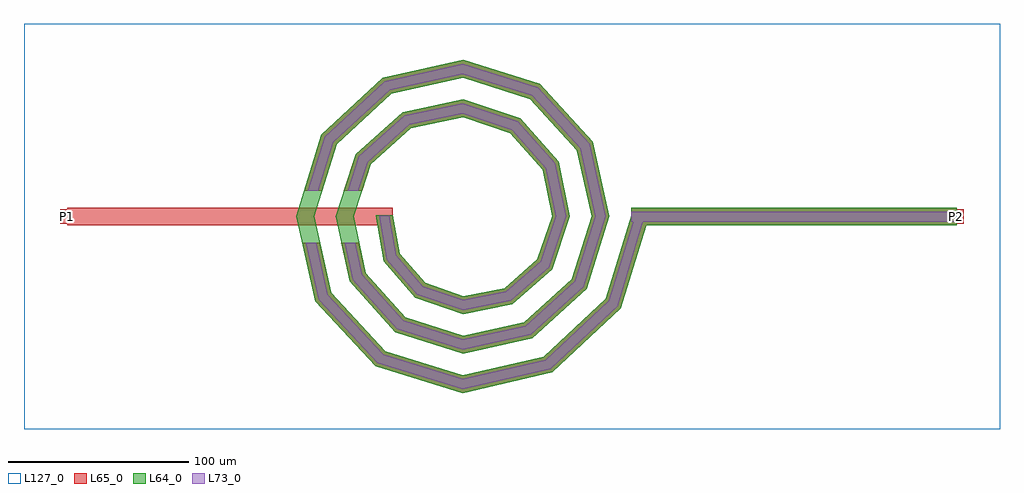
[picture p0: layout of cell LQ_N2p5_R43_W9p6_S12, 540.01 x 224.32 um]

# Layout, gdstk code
import gdstk
lib = gdstk.Library(unit=1e-6, precision=1e-09)
def R(c, l, rs):  # rectangles x0, y0, x1, y1
    for r in rs: c.add(gdstk.rectangle(r[:2], r[2:], *l))
def P(c, l, *ps):  # polygons
    for p in ps: c.add(gdstk.Polygon(p, *l))
L64_0 = (64, 0)
L65_0 = (65, 0)
L73_0 = (73, 0)
L127_0 = (127, 0)

lq_n2p5_r43_w9p6_s12 = lib.new_cell('LQ_N2p5_R43_W9p6_S12')
R(lq_n2p5_r43_w9p6_s12, L64_0, [(93.316,-4.8,273.316,4.8)])
P(lq_n2p5_r43_w9p6_s12, L64_0, [(-34.765,-20.501),(-20.779,-36.706),(0.344,-43.998),(23.196,-39.513),(41.416,-23.541),(49.458,0.31),(44.258,25.899),(26.298,46.13),(0.282,54.919),(-28.606,49.001),(-50.847,29.05),(-60.38,0.258),(-53.741,-31.318),(-31.799,-55.566),(0.238,-65.841),(34.032,-58.481),(60.287,-34.545),(71.303,0.221),(63.218,36.749),(37.289,65.009),(0.206,76.764),(-39.467,67.955),(-69.732,40.031),(-82.226,0.194),(-72.692,-42.187),(-42.773,-74.456),(0.182,-87.688),(44.909,-77.427),(79.181,-45.513),(93.526,1.404),(102.707,-1.404),(87.608,-50.783),(49.566,-86.208),(0.182,-97.621),(-48.061,-82.872),(-81.483,-46.825),(-92.158,0.194),(-78.136,45.34),(-44.083,76.758),(0.206,86.695),(42.62,73.398),(72.035,41.34),(81.233,0.221),(68.659,-39.902),(38.594,-67.312),(0.238,-75.77),(-37.186,-63.919),(-62.59,-35.847),(-70.307,0.258),(-59.178,34.473),(-33.096,57.87),(0.282,64.844),(31.763,54.434),(53.152,30.341),(59.38,0.31),(49.687,-29.057),(27.581,-48.436),(0.344,-53.916),(-26.357,-44.936),(-43.724,-24.814),(-48.213,0.885),(-38.777,0.885)])
R(lq_n2p5_r43_w9p6_s12, L65_0, [(-218.695,-4.8,-38.695,4.8), (93.316,-4.8,273.316,4.8), (-222.695,-4,-214.695,4), (269.316,-4,277.316,4)])
P(lq_n2p5_r43_w9p6_s12, L65_0, [(-72.692,-42.187),(-42.773,-74.456),(0.182,-87.688),(44.909,-77.427),(79.181,-45.513),(93.526,1.404),(102.707,-1.404),(87.608,-50.783),(49.566,-86.208),(0.182,-97.621),(-48.061,-82.872),(-81.483,-46.825),(-88.845,-14.4),(-79,-14.4)],
  [(-53.741,-31.318),(-31.799,-55.566),(0.238,-65.841),(34.032,-58.481),(60.287,-34.545),(71.303,0.221),(63.218,36.749),(37.289,65.009),(0.206,76.764),(-39.467,67.955),(-69.732,40.032),(-77.693,14.4),(-87.746,14.4),(-78.136,45.34),(-44.083,76.758),(0.206,86.696),(42.62,73.398),(72.035,41.34),(81.233,0.221),(68.659,-39.902),(38.594,-67.312),(0.238,-75.77),(-37.186,-63.92),(-62.59,-35.847),(-67.174,-14.4),(-57.357,-14.4)],
  [(-20.779,-36.706),(0.344,-43.998),(23.196,-39.514),(41.416,-23.541),(49.458,0.31),(44.258,25.899),(26.298,46.13),(0.282,54.919),(-28.606,49.001),(-50.847,29.05),(-55.612,14.4),(-65.707,14.4),(-59.178,34.473),(-33.096,57.87),(0.282,64.844),(31.763,54.434),(53.152,30.341),(59.38,0.31),(49.687,-29.057),(27.581,-48.436),(0.344,-53.916),(-26.357,-44.937),(-43.724,-24.815),(-48.213,0.885),(-38.777,0.885),(-34.765,-20.501)])
R(lq_n2p5_r43_w9p6_s12, L73_0, [(93.316,-2.8,273.316,2.8)])
P(lq_n2p5_r43_w9p6_s12, L73_0, [(-74.523,-43.154),(-43.874,-76.209),(0.106,-89.757),(45.879,-79.257),(80.936,-46.611),(95.439,0.819),(100.794,0.819),(85.852,-49.685),(48.596,-84.379),(0.106,-95.551),(-46.959,-81.119),(-79.651,-45.859),(-86.794,-14.4),(-81.051,-14.4)],
  [(-55.585,-32.261),(-32.921,-57.306),(0.139,-67.91),(34.982,-60.32),(62.031,-35.661),(73.371,0.129),(65.055,37.705),(38.4,66.756),(0.12,78.833),(-40.429,69.789),(-71.483,41.137),(-79.787,14.4),(-85.651,14.4),(-76.385,44.234),(-43.122,74.924),(0.12,84.627),(41.51,71.65),(70.198,40.383),(79.164,0.129),(66.915,-38.786),(37.644,-65.472),(0.139,-73.702),(-36.064,-62.179),(-60.747,-34.903),(-65.129,-14.4),(-59.402,-14.4)],
  [(-21.941,-38.421),(0.201,-46.064),(24.11,-41.372),(43.139,-24.691),(51.525,0.181),(46.111,26.824),(27.436,47.86),(0.164,56.987),(-29.542,50.849),(-52.582,30.18),(-57.715,14.4),(-63.604,14.4),(-57.442,33.343),(-32.16,56.022),(0.164,62.776),(30.624,52.704),(51.299,29.416),(57.313,0.181),(47.964,-27.908),(26.668,-46.577),(0.201,-51.85),(-25.195,-43.222),(-41.857,-23.916),(-46.247,0.516),(-40.743,0.516),(-36.632,-21.4)])
R(lq_n2p5_r43_w9p6_s12, L127_0, [(-242.695,-117.621,297.316,106.696)])
lq_n2p5_r43_w9p6_s12.add(gdstk.Label('P2', (273.316,0), layer=65, texttype=0))
lq_n2p5_r43_w9p6_s12.add(gdstk.Label('P1', (-218.695,0), layer=65, texttype=0))
lq_n2p5_r43_w9p6_s12.add(gdstk.Label('P2', (277.316,0), layer=145, texttype=0))
lq_n2p5_r43_w9p6_s12.add(gdstk.Label('P1', (-222.695,0), layer=145, texttype=0))

lib.write_gds('LQ_N2p5_R43_W9p6_S12.gds')
